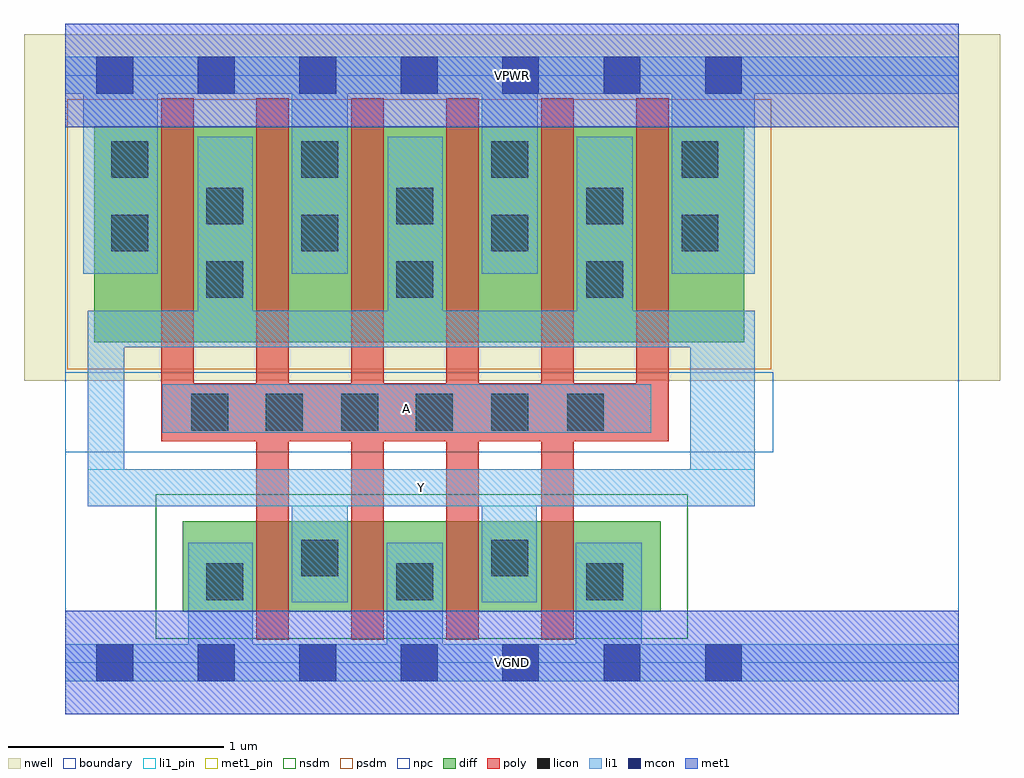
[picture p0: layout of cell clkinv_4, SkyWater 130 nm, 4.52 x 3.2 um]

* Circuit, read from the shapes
.subckt clkinv_4 A VGND VPWR Y
XM1 Y A VGND VSUBS sky130_fd_pr__nfet_01v8 w=0.42 l=0.15 m=4
XM2 Y A VPWR n1 sky130_fd_pr__pfet_01v8 w=1 l=0.15 m=6
.ends

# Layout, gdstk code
import gdstk
lib = gdstk.Library(unit=1e-6, precision=1e-09)
def R(c, l, rs):  # rectangles x0, y0, x1, y1
    for r in rs: c.add(gdstk.rectangle(r[:2], r[2:], *l))
def A(c, l, x, y, w, h, nx, ny, dx, dy):  # array of equal rectangles
    R(c, l, [(x+i*dx, y+j*dy, x+i*dx+w, y+j*dy+h) for i in range(nx) for j in range(ny)])
nwell = (64, 20)
diff = (65, 20)
poly = (66, 20)
licon = (66, 44)
li1_pin = (67, 16)
li1 = (67, 20)
mcon = (67, 44)
met1_pin = (68, 16)
met1 = (68, 20)
nsdm = (93, 44)
psdm = (94, 20)
npc = (95, 20)
boundary = (235, 4)

clkinv_4 = lib.new_cell('clkinv_4')
R(clkinv_4, nwell, [(-0.19,1.305,4.33,2.91), (0,1.305,4.14,2.91)])
R(clkinv_4, diff, [(0.545,0.235,2.76,0.655), (0.135,1.485,3.145,2.485)])
A(clkinv_4, poly, 0.885, 0.105, 0.15, 2.51, 4, 1, 0.44, 0)
R(clkinv_4, poly, [(0.445,1.025,2.795,1.295), (0.445,1.025,0.595,2.615), (2.645,1.025,2.795,2.615)])
A(clkinv_4, licon, 0.655, 0.29, 0.17, 0.17, 3, 2, 0.88, 1.4)
A(clkinv_4, licon, 1.625, 1.075, 0.17, 0.17, 3, 1, 0.35, 0)
A(clkinv_4, licon, 0.215, 1.905, 0.17, 0.17, 4, 2, 0.88, 0.34)
A(clkinv_4, licon, 0.655, 2.03, 0.17, 0.17, 3, 1, 0.88, 0)
R(clkinv_4, licon, [(1.095,0.4,1.265,0.57), (1.975,0.4,2.145,0.57), (0.585,1.075,0.755,1.245), (0.93,1.075,1.1,1.245), (1.28,1.075,1.45,1.245)])
R(clkinv_4, li1_pin, [(0.105,0.725,3.195,0.895), (0.45,1.065,2.715,1.29)])
R(clkinv_4, li1, [(0,-0.085,4.14,0.085), (0.57,-0.085,0.87,0.555), (1.49,-0.085,1.75,0.555), (2.365,-0.085,2.67,0.555), (1.05,0.28,1.31,0.895), (1.93,0.28,2.185,0.895), (0.105,0.725,3.195,0.895), (0.105,0.725,0.275,1.63), (2.895,0.725,3.195,1.63), (0.45,1.065,2.715,1.29), (0.105,1.46,3.195,1.63), (0.615,1.46,0.87,2.435), (1.495,1.46,1.75,2.435), (2.37,1.46,2.63,2.435), (0.085,1.8,0.43,2.805), (1.05,1.8,1.31,2.805), (1.93,1.8,2.19,2.805), (2.81,1.8,3.195,2.805), (0,2.635,4.14,2.805)])
A(clkinv_4, mcon, 0.145, -0.085, 0.17, 0.17, 7, 2, 0.47, 2.72)
R(clkinv_4, met1_pin, [(0,-0.24,4.14,0.24), (0,2.48,4.14,2.96)])
R(clkinv_4, met1, [(0,-0.24,4.14,0.24), (0,2.48,4.14,2.96)])
R(clkinv_4, nsdm, [(0.42,0.11,2.885,0.78)])
R(clkinv_4, psdm, [(0.01,1.36,3.27,2.61)])
R(clkinv_4, npc, [(0,0.975,3.28,1.345)])
R(clkinv_4, boundary, [(0,0,4.14,2.72)])
clkinv_4.add(gdstk.Label('A', (1.582,1.177), layer=67, texttype=5))
clkinv_4.add(gdstk.Label('Y', (1.65,0.81), layer=67, texttype=5))
clkinv_4.add(gdstk.Label('VPWR', (2.07,2.72), layer=68, texttype=5))
clkinv_4.add(gdstk.Label('VGND', (2.07,0), layer=68, texttype=5))
clkinv_4.add(gdstk.Label('A', (1.582,1.177), layer=67, texttype=16))
clkinv_4.add(gdstk.Label('Y', (1.65,0.81), layer=67, texttype=16))
clkinv_4.add(gdstk.Label('VPWR', (2.07,2.72), layer=68, texttype=16))
clkinv_4.add(gdstk.Label('VGND', (2.07,0), layer=68, texttype=16))

lib.write_gds('clkinv_4.gds')
